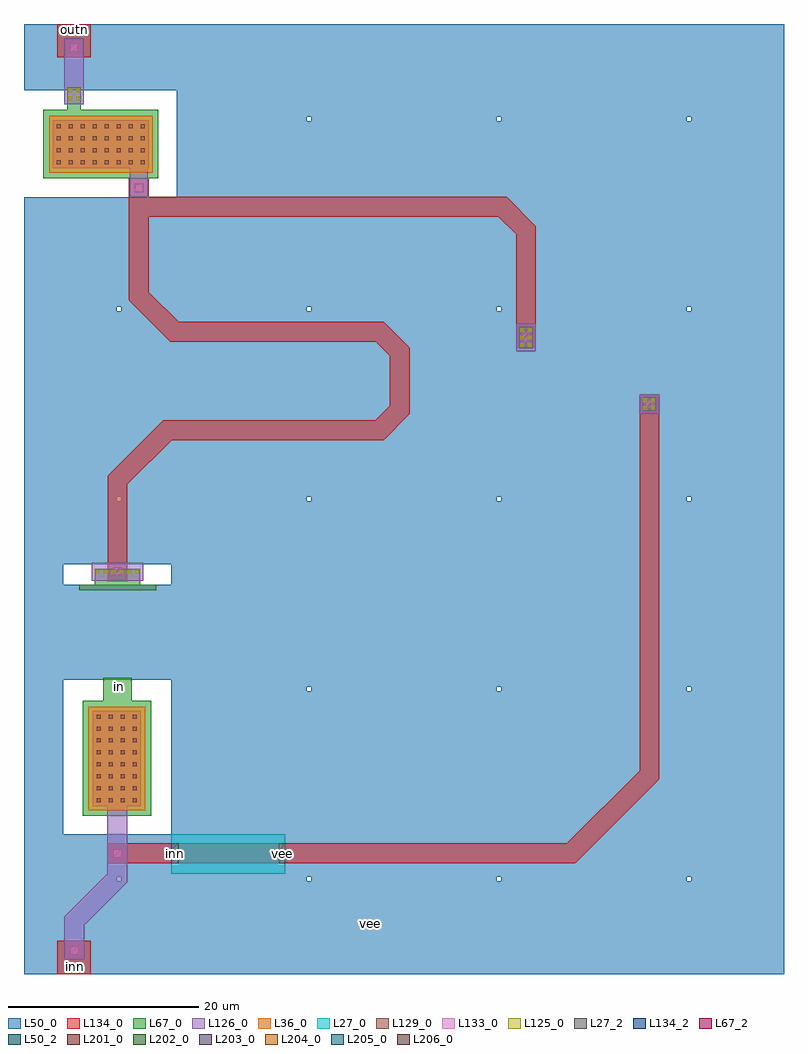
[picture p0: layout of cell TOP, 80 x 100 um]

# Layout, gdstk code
from math import pi, radians
import gdstk
lib = gdstk.Library(unit=1e-6, precision=1e-09)
def R(c, l, rs):  # rectangles x0, y0, x1, y1
    for r in rs: c.add(gdstk.rectangle(r[:2], r[2:], *l))
def A(c, l, x, y, w, h, nx, ny, dx, dy):  # array of equal rectangles
    R(c, l, [(x+i*dx, y+j*dy, x+i*dx+w, y+j*dy+h) for i in range(nx) for j in range(ny)])
def P(c, l, *ps):  # polygons
    for p in ps: c.add(gdstk.Polygon(p, *l))
L27_0 = (27, 0)
L27_2 = (27, 2)
L36_0 = (36, 0)
L50_0 = (50, 0)
L50_2 = (50, 2)
L67_0 = (67, 0)
L67_2 = (67, 2)
L125_0 = (125, 0)
L126_0 = (126, 0)
L129_0 = (129, 0)
L133_0 = (133, 0)
L134_0 = (134, 0)
L134_2 = (134, 2)
L201_0 = (201, 0)
L202_0 = (202, 0)
L203_0 = (203, 0)
L204_0 = (204, 0)
L205_0 = (205, 0)
L206_0 = (206, 0)

via_stack_26 = lib.new_cell('via_stack$26')
R(via_stack_26, L126_0, [(-0.95,-0.95,0.95,0.95)])
R(via_stack_26, L133_0, [(-0.45,-0.45,0.45,0.45)])
R(via_stack_26, L134_0, [(-1,-1,1,1)])

via_stack_12 = lib.new_cell('via_stack$12')
R(via_stack_12, L67_0, [(-2.41,-0.31,2.41,0.31)])
A(via_stack_12, L125_0, -2.31, -0.21, 0.42, 0.42, 6, 1, 0.84, 0)
R(via_stack_12, L126_0, [(-2.73,-0.95,2.73,0.95)])
R(via_stack_12, L133_0, [(-0.45,-0.45,0.45,0.45)])
R(via_stack_12, L134_0, [(-1,-1,1,1)])

cmim = lib.new_cell('cmim')
R(cmim, L36_0, [(0,0,6,10.9)])
R(cmim, L67_0, [(-0.6,-0.6,6.6,11.5)])
R(cmim, L126_0, [(0.48,0.41,5.52,10.49)])
A(cmim, L129_0, 0.9, 0.83, 0.42, 0.42, 4, 8, 1.26, 1.26)
cmim.add(gdstk.Label('c=99.7f', (3,5.45), layer=63, texttype=0))
cmim.add(gdstk.Label('cmim', (3,5.45), layer=63, texttype=0))

via_stack_28 = lib.new_cell('via_stack$28')
R(via_stack_28, L126_0, [(-0.95,-0.95,0.95,0.95)])
R(via_stack_28, L133_0, [(-0.45,-0.45,0.45,0.45)])
R(via_stack_28, L134_0, [(-1,-1,1,1)])

via_stack = lib.new_cell('via_stack')
R(via_stack, L67_0, [(-0.73,-0.73,0.73,0.73)])
R(via_stack, L125_0, [(-0.63,-0.63,-0.21,-0.21), (0.21,-0.63,0.63,-0.21), (-0.63,0.21,-0.21,0.63), (0.21,0.21,0.63,0.63)])
R(via_stack, L126_0, [(-1.05,-1.05,1.05,1.05)])

m4_gnd_grid = lib.new_cell('M4_gnd_grid')
P(m4_gnd_grid, L50_0, [(87.9,-15.355),(87.9,-5.355),(97.65,-5.355),(97.65,-5.605),(98.15,-5.605),(98.15,-5.105),(97.65,-5.105),(97.65,-5.355),(87.9,-5.355),(87.9,4.645),(107.9,4.645),(107.9,-15.355)],
  [(107.9,-15.355),(107.9,-5.355),(117.65,-5.355),(117.65,-5.605),(118.15,-5.605),(118.15,-5.105),(117.65,-5.105),(117.65,-5.355),(107.9,-5.355),(107.9,4.645),(127.9,4.645),(127.9,-15.355)],
  [(127.9,-15.355),(127.9,-5.355),(137.65,-5.355),(137.65,-5.605),(138.15,-5.605),(138.15,-5.105),(137.65,-5.105),(137.65,-5.355),(127.9,-5.355),(127.9,4.645),(147.9,4.645),(147.9,-15.355)],
  [(67.9,-35.355),(67.9,-25.355),(77.65,-25.355),(77.65,-25.605),(78.15,-25.605),(78.15,-25.105),(77.65,-25.105),(77.65,-25.355),(67.9,-25.355),(67.9,-15.355),(87.9,-15.355),(87.9,-35.355)],
  [(87.9,-35.355),(87.9,-25.355),(97.65,-25.355),(97.65,-25.605),(98.15,-25.605),(98.15,-25.105),(97.65,-25.105),(97.65,-25.355),(87.9,-25.355),(87.9,-15.355),(107.9,-15.355),(107.9,-35.355)],
  [(127.9,-35.355),(127.9,-25.355),(137.65,-25.355),(137.65,-25.605),(138.15,-25.605),(138.15,-25.105),(137.65,-25.105),(137.65,-25.355),(127.9,-25.355),(127.9,-15.355),(147.9,-15.355),(147.9,-35.355)],
  [(87.9,-55.355),(87.9,-45.355),(97.65,-45.355),(97.65,-45.605),(98.15,-45.605),(98.15,-45.105),(97.65,-45.105),(97.65,-45.355),(87.9,-45.355),(87.9,-35.355),(107.9,-35.355),(107.9,-55.355)],
  [(107.9,-55.355),(107.9,-45.355),(117.65,-45.355),(117.65,-45.605),(118.15,-45.605),(118.15,-45.105),(117.65,-45.105),(117.65,-45.355),(107.9,-45.355),(107.9,-35.355),(127.9,-35.355),(127.9,-55.355)],
  [(127.9,-55.355),(127.9,-45.355),(137.65,-45.355),(137.65,-45.605),(138.15,-45.605),(138.15,-45.105),(137.65,-45.105),(137.65,-45.355),(127.9,-45.355),(127.9,-35.355),(147.9,-35.355),(147.9,-55.355)],
  [(87.9,-75.355),(87.9,-65.355),(97.65,-65.355),(97.65,-65.605),(98.15,-65.605),(98.15,-65.105),(97.65,-65.105),(97.65,-65.355),(87.9,-65.355),(87.9,-55.355),(107.9,-55.355),(107.9,-75.355)],
  [(107.9,-75.355),(107.9,-65.355),(117.65,-65.355),(117.65,-65.605),(118.15,-65.605),(118.15,-65.105),(117.65,-65.105),(117.65,-65.355),(107.9,-65.355),(107.9,-55.355),(127.9,-55.355),(127.9,-75.355)],
  [(127.9,-75.355),(127.9,-65.355),(137.65,-65.355),(137.65,-65.605),(138.15,-65.605),(138.15,-65.105),(137.65,-65.105),(137.65,-65.355),(127.9,-65.355),(127.9,-55.355),(147.9,-55.355),(147.9,-75.355)],
  [(87.9,-95.355),(87.9,-85.355),(97.65,-85.355),(97.65,-85.605),(98.15,-85.605),(98.15,-85.105),(97.65,-85.105),(97.65,-85.355),(87.9,-85.355),(87.9,-75.355),(107.9,-75.355),(107.9,-95.355)],
  [(107.9,-95.355),(107.9,-85.355),(117.65,-85.355),(117.65,-85.605),(118.15,-85.605),(118.15,-85.105),(117.65,-85.105),(117.65,-85.355),(107.9,-85.355),(107.9,-75.355),(127.9,-75.355),(127.9,-95.355)],
  [(127.9,-95.355),(127.9,-85.355),(137.65,-85.355),(137.65,-85.605),(138.15,-85.605),(138.15,-85.105),(137.65,-85.105),(137.65,-85.355),(127.9,-85.355),(127.9,-75.355),(147.9,-75.355),(147.9,-95.355)])

via_stack_1 = lib.new_cell('via_stack$1')
R(via_stack_1, L67_0, [(-0.73,-0.73,0.73,0.73)])
R(via_stack_1, L125_0, [(-0.63,-0.63,-0.21,-0.21), (0.21,-0.63,0.63,-0.21), (-0.63,0.21,-0.21,0.63), (0.21,0.21,0.63,0.63)])
R(via_stack_1, L126_0, [(-1.05,-1.05,1.05,1.05)])
R(via_stack_1, L133_0, [(-0.45,-0.45,0.45,0.45)])
R(via_stack_1, L134_0, [(-1,-1,1,1)])

via_stack_33 = lib.new_cell('via_stack$33')
R(via_stack_33, L67_0, [(-0.73,-1.15,0.73,1.15)])
A(via_stack_33, L125_0, -0.63, -1.05, 0.42, 0.42, 1, 3, 0, 0.84)
A(via_stack_33, L125_0, 0.21, -1.05, 0.42, 0.42, 1, 3, 0, 0.84)
R(via_stack_33, L126_0, [(-1.05,-1.47,1.05,1.47)])
R(via_stack_33, L133_0, [(-0.45,-0.45,0.45,0.45)])
R(via_stack_33, L134_0, [(-1,-1,1,1)])

m3_gnd_grid = lib.new_cell('M3_gnd_grid')

m1_grid = lib.new_cell('M1_grid')

m2_grid = lib.new_cell('M2_grid')

top = lib.new_cell('TOP')
R(top, L27_0, [(15.525,-39.45,27.5,-35.31)])
R(top, L27_2, [(15.525,-38.36,16.265,-36.26), (26.835,-38.36,27.5,-36.26)])
R(top, L50_0, [(0,-30,4.125,-21.1), (15.525,-30,20,-21.11), (15.525,-21.11,20,-6.89), (0,-21.1,4.125,-6.89), (0,-19.02,20,-9.015), (50.695,15,54.84,19.22), (0,30,20,31.78), (16.1,31.78,20,43.03), (0,43.03,20,50)])
P(top, L50_0, [(40,10),(40,19),(50.84,19),(50.84,15),(54.84,15),(54.84,19),(40,19),(40,20.25),(49.75,20.25),(49.75,19.75),(50.25,19.75),(50.25,20.25),(40,20.25),(40,30),(60,30),(60,10)],
  [(0,-50),(0,-39.75),(9.75,-39.75),(9.75,-40.25),(10.25,-40.25),(10.25,-39.75),(0,-39.75),(0,-30),(4.125,-30),(4.125,-35.31),(15.525,-35.31),(15.525,-30),(20,-30),(20,-50)],
  [(0,-6.89),(0,0.25),(9.75,0.25),(9.75,-0.25),(10.25,-0.25),(10.25,0.25),(0,0.25),(0,10),(20,10),(20,-6.89)])
R(top, L50_2, [(36.43,-44.7,36.56,-44.57)])
R(top, L67_0, [(8.325,-27.01,11.325,-18.82), (5.84,-9.625,13.92,-9.015), (7.43,-9.3,12.25,-7.33), (4.535,40.96,5.995,43.32)])
R(top, L67_2, [(9.955,-19.78,10.085,-19.65)])
R(top, L126_0, [(8.775,-38.26,10.875,-31.8), (11.15,31.81,13.05,37.38), (4.215,41.54,6.315,48.485)])
P(top, L126_0, [(4.24,-48.455),(4.24,-43.99),(8.775,-39.455),(8.775,-38.26),(10.875,-38.26),(10.875,-40.325),(6.34,-44.86),(6.34,-48.455)])
R(top, L134_0, [(3.5,-50,7,-46.5), (8.825,-38.36,12.5,-36.26), (8.79,-8.64,10.89,-6.64), (17.24,6.21,33,8.31), (17.98,16.57,33,18.67), (11.05,29.71,13.15,33.76), (3.5,46.5,7,50)])
P(top, L134_0, [(12.5,-38.36),(12.5,-36.26),(57.145,-36.26),(64.79,-28.615),(64.79,11),(66.89,11),(66.89,-29.485),(58.015,-38.36)],
  [(51.79,16),(51.79,27.845),(49.925,29.71),(13.1,29.71),(13.1,31.81),(50.795,31.81),(53.89,28.715),(53.89,16)],
  [(33,6.21),(33,8.31),(36.985,8.31),(38.51,9.835),(38.51,15.06),(37,16.57),(33,16.57),(33,18.67),(37.87,18.67),(40.61,15.93),(40.61,8.965),(37.855,6.21)],
  [(8.79,-6.64),(8.79,2.44),(14.66,8.31),(17.24,8.31),(17.24,6.21),(15.53,6.21),(10.89,1.57),(10.89,-6.64)],
  [(15.395,16.57),(11.05,20.915),(11.05,29.71),(13.15,29.71),(13.15,21.785),(16.265,18.67),(17.98,18.67),(17.98,16.57)])
R(top, L134_2, [(5.305,-49.28,5.435,-49.15), (5.22,49.325,5.35,49.455)])
P(top, L201_0, [(3.5,-50),(3.5,-50),(7,-50),(7,-50)])
P(top, L202_0, [(8.405,-18.82),(8.405,-18.82),(11.155,-18.82),(11.155,-18.82)])
P(top, L203_0, [(65.11,10.73),(65.11,10.73),(66.57,10.73),(66.57,10.73)])
P(top, L204_0, [(5.84,-9.625),(5.84,-9.625),(13.92,-9.625),(13.92,-9.625)])
P(top, L205_0, [(3.5,50),(3.5,50),(7,50),(7,50)])
P(top, L206_0, [(52.11,15.85),(52.11,15.85),(53.57,15.85),(53.57,15.85)])
top.add(gdstk.Reference(via_stack_26, (5.3,-47.505)))
top.add(gdstk.Reference(via_stack_12, (9.84,-7.64)))
top.add(gdstk.Reference(via_stack_26, (9.825,-37.31)))
top.add(gdstk.Reference(cmim, (6.77,-32.76)))
top.add(gdstk.Reference(via_stack_28, (12.1,32.76)))
top.add(gdstk.Reference(via_stack, (5.265,42.59)))
top.add(gdstk.Reference(cmim, (2.64,40.36), rotation=3*pi/2))
top.add(gdstk.Reference(m4_gnd_grid, (-67.9,45.355)))
top.add(gdstk.Reference(via_stack_26, (5.265,47.535)))
top.add(gdstk.Reference(via_stack_1, (65.84,10)))
top.add(gdstk.Reference(via_stack_33, (52.84,17)))
top.add(gdstk.Reference(m3_gnd_grid, (70,-40)))
top.add(gdstk.Reference(m1_grid, (70,-40)))
top.add(gdstk.Reference(m2_grid, (70,-40)))
top.add(gdstk.Label('in', (10.02,-19.715), layer=67, texttype=25))
top.add(gdstk.Label('inn', (15.895,-37.31), layer=27, texttype=25))
top.add(gdstk.Label('vee', (27.167,-37.31), layer=27, texttype=25))
top.add(gdstk.Label('vee', (36.495,-44.635), layer=50, texttype=25))
top.add(gdstk.Label('inn', (5.37,-49.215), layer=134, texttype=25))
top.add(gdstk.Label('outn', (5.285,49.39), layer=134, texttype=25))

lib.write_gds('TOP.gds')
